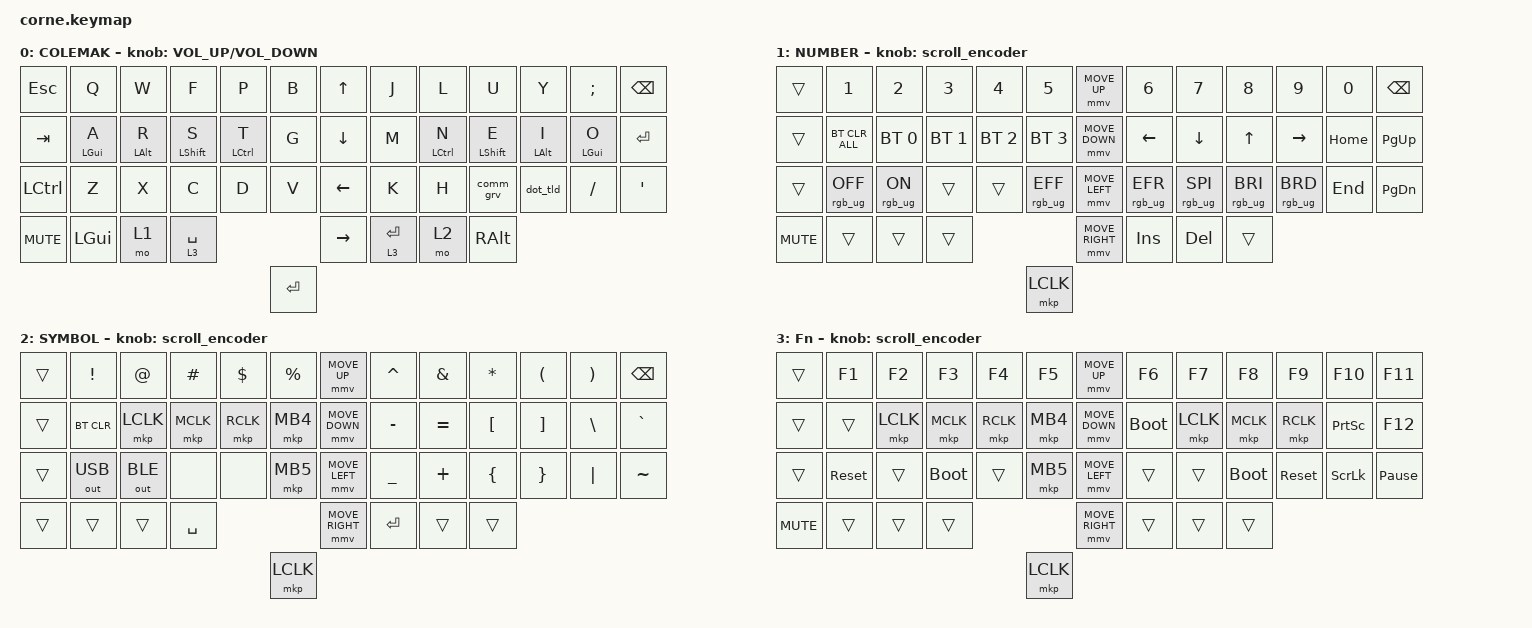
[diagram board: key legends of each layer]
#include <behaviors/mouse_keys.dtsi>
#include <behaviors.dtsi>
#include <dt-bindings/zmk/bt.h>
#include <dt-bindings/zmk/keys.h>
#include <dt-bindings/zmk/mouse.h>
#include <dt-bindings/zmk/outputs.h>
#include <dt-bindings/zmk/rgb.h>

#undef ZMK_MOUSE_DEFAULT_MOVE_VAL
#undef ZMK_MOUSE_DEFAULT_SCRL_VAL
#define ZMK_MOUSE_DEFAULT_MOVE_VAL 1200  // 600
#define ZMK_MOUSE_DEFAULT_SCRL_VAL 20    // 10
#define U_MS_U &mmv MOVE_UP
#define U_MS_D &mmv MOVE_DOWN
#define U_MS_L &mmv MOVE_LEFT
#define U_MS_R &mmv MOVE_RIGHT

#define COLEMAK 0
#define MEDIA   1
#define SYMBOLS 2
#define EXTEND  3
#define NAV     4
#define SYSTEM  5

#define KEYS_LEFT   0 1 2  3  4  5 13 14 15 16 17 18 26 27 28 29 30 31 // left-hand keys
#define KEYS_RIGHT  7 8 9 10 11 12 20 21 22 23 24 25 33 34 35 36 37 38 // right-hand keys
#define KEYS_THUMBS 40 41 42 44 45 46                                  // thumb keys
#define KEYS_5WAY   6 32 47 43 19                                      // five-way switch
#define KEY_ENCODER 39                                                 // push on rotary encoder

/ {
    behaviors {
        hrl: home_row_left {
            compatible = "zmk,behavior-hold-tap";
            #binding-cells = <2>;
            flavor = "balanced";
            tapping-term-ms = <280>;
            quick-tap-ms = <175>;
            require-prior-idle-ms = <150>;
            bindings = <&kp>, <&kp>;
            hold-trigger-key-positions = <KEYS_RIGHT KEYS_THUMBS KEYS_5WAY>;
            hold-trigger-on-release;             // delay positional check until key-release
        };

        hrr: home_row_right {
            compatible = "zmk,behavior-hold-tap";
            #binding-cells = <2>;
            flavor = "balanced";
            tapping-term-ms = <280>;
            quick-tap-ms = <175>;
            require-prior-idle-ms = <150>;
            bindings = <&kp>, <&kp>;
            hold-trigger-key-positions = <KEYS_LEFT KEYS_THUMBS KEY_ENCODER>;
            hold-trigger-on-release;             // delay positional check until key-release
        };

        td0: td0 {
            compatible = "zmk,behavior-tap-dance";
            label = "TD0";
            #binding-cells = <0>;
            bindings = <&kp LEFT_SHIFT>, <&kp CAPS>;
        };

        mmv {
            acceleration-exponent = <1>;      // 1
            time-to-max-speed-ms = <900>;    // 40
            delay-ms = <0>;                   // 0
        };

        msc {
            acceleration-exponent = <1>;      // 0
            time-to-max-speed-ms = <400>;      // 500
            delay-ms = <0>;                   // 10
        };

        comm_grv: comma_grave {
            compatible = "zmk,behavior-mod-morph";
            #binding-cells = <0>;
            bindings = <&kp COMMA>, <&kp GRAVE>;
            mods = <(MOD_LSFT|MOD_RSFT)>;
        };

        dot_tld: dot_tilde {
            compatible = "zmk,behavior-mod-morph";
            #binding-cells = <0>;
            bindings = <&kp DOT>, <&kp TILDE>;
            mods = <(MOD_LSFT|MOD_RSFT)>;
        };

    };

    rgb_encoder: rgb_encoder {
        compatible = "zmk,behavior-sensor-rotate";
        label = "RGB_ENCODER";
        #sensor-binding-cells = <0>;
        bindings = <&rgb_ug RGB_BRI>, <&rgb_ug RGB_BRD>;
    };

    scroll_encoder: scroll_encoder {
        compatible = "zmk,behavior-sensor-rotate";
        #sensor-binding-cells = <0>;
        bindings = <&msc SCRL_DOWN>, <&msc SCRL_UP>;

        tap-ms = <30>;
    };


    combos {
        compatible = "zmk,combos";
        combo_under {
            timeout-ms = <50>;
            key-positions = <21 34>;
            bindings = <&kp UNDER>;
            layers = <COLEMAK>;
        };
        combo_minus {
            timeout-ms = <50>;
            key-positions = <20 21>;
            bindings = <&kp MINUS>;
            layers = <COLEMAK>;
        };
        combo_sqt {
            timeout-ms = <50>;
            key-positions = <9 22>;
            bindings = <&kp SQT>;
            layers = <COLEMAK>;
        };
        combo_dqt {
            timeout-ms = <50>;
            key-positions = <10 23>;
            bindings = <&kp DQT>;
            layers = <COLEMAK>;
        };
        combo_colon {
            timeout-ms = <50>;
            key-positions = <17 30>;
            bindings = <&kp COLON>;
            layers = <COLEMAK>;
        };
        combo_semi {
            timeout-ms = <50>;
            key-positions = <16 29>;
            bindings = <&kp SEMI>;
            layers = <COLEMAK>;
        };
        combo_excl {
            timeout-ms = <50>;
            key-positions = <24 37>;
            bindings = <&kp EXCL>;
            layers = <COLEMAK>;
        };
        combo_save {
            timeout-ms = <50>;
            key-positions = <2 3>;
            bindings = <&kp LC(S)>;
            layers = <COLEMAK>;
        };
    };

    keymap {
        compatible = "zmk,keymap";

        default_layer {
            display-name = "COLEMAK";

            // ┌──────┬─────┬─────┬─────┬─────┬─────┐           ┏━━━━━┓   ┌─────┬─────┬─────┬─────┬─────┬──────┐
            // │ ESC  │  Q  │  W  │  F  │  P  │  B  │           ┃  ↑  ┃   │  J  │  L  │  U  │  Y  │  ;  │ BKSP │
            // ├──────┼─────┼─────┼─────┼─────┼─────┤           ┃     ┃   ├─────┼─────┼─────┼─────┼─────┼──────┤
            // │ TAB  │  A  │  R  │  S  │  T  │  G  │           ┃  ↓  ┃   │  M  │  N  │  E  │  I  │  O  │ ENT  │
            // ├──────┼─────┼─────┼─────┼─────┼─────┤           ┃     ┃   ├─────┼─────┼─────┼─────┼─────┼──────┤
            // │ CTRL │  Z  │  X  │  C  │  D  │  V  │           ┃  ←  ┃   │  K  │  H  │ , ` │ . ~ │  /  │  '   │
            // └┲━━━━━┷┱────┴─────┴─┬───┴─┬───┴─┬───┴─┐         ┃     ┃ ┌─┴───┬─┴───┬─┴───┬─┴─────┴─────┴──────┘
            //  ┃ MUTE ┃            │ GUI │ SFT │ SPC │         ┃  →  ┃ │ ENT │ SPC │ ALT │
            //  ┗━━━━━━┛            └─────┴─────┴─────┘         ┃     ┃ └─────┴─────┴─────┘
            //                                                  ┃enter┃
            //                                                  ┗━━━━━┛

            bindings = <
&kp ESC    &kp Q        &kp W        &kp F         &kp P         &kp B      &kp UP_ARROW       &kp J        &kp L         &kp U        &kp Y        &kp SEMI    &kp BSPC
&kp TAB    &hrl LGUI A  &hrl LALT R  &hrl LSHFT S  &hrl LCTRL T  &kp G      &kp DOWN_ARROW     &kp M        &hrr LCTRL N  &hrr LSHFT E &hrr LALT I  &hrr LGUI O &kp ENTER
&kp LCTRL  &kp Z        &kp X        &kp C         &kp D         &kp V      &kp LEFT_ARROW     &kp K        &kp H         &comm_grv    &dot_tld     &kp FSLH    &kp SQT
  &kp C_MUTE                                &kp LGUI  &mo 1  &lt 3 SPACE    &kp RIGHT_ARROW  &lt 3 ENTER  &mo 2  &kp RALT
                                                             &kp ENTER
            >;

            label = "COLEMAK";
            sensor-bindings = <&inc_dec_kp C_VOLUME_UP C_VOLUME_DOWN>;
        };

        lower_layer {
            display-name = "NUMBER";

            // -----------------------------------------------------------------------------------------
            // |  TAB |  1  |  2  |  3  |  4  |  5  |   |  6  |  7  |  8  |  9  |  0  | BKSP |
            // | BTCLR| BT1 | BT2 | BT3 | BT4 | BT5 |   | LFT | DWN |  UP | RGT |     |      |
            // | SHFT |     |     |     |     |     |   |     |     |     |     |     |      |
            //                    | GUI |     | SPC |   | ENT |     | ALT |

            bindings = <
&trans  &kp N1           &kp N2          &kp N3        &kp N4        &kp N5             &mmv MOVE_UP     &kp N6           &kp N7           &kp N8           &kp N9           &kp N0    &kp BSPC
&trans  &bt BT_CLR_ALL   &bt BT_SEL 0    &bt BT_SEL 1  &bt BT_SEL 2  &bt BT_SEL 3       &mmv MOVE_DOWN   &kp LEFT         &kp DOWN         &kp UP           &kp RIGHT        &kp HOME  &kp PG_UP
&trans  &rgb_ug RGB_OFF  &rgb_ug RGB_ON  &trans        &trans        &rgb_ug RGB_EFF    &mmv MOVE_LEFT   &rgb_ug RGB_EFR  &rgb_ug RGB_SPI  &rgb_ug RGB_BRI  &rgb_ug RGB_BRD  &kp END   &kp PG_DN
                         &kp C_MUTE      &trans        &trans        &trans             &mmv MOVE_RIGHT  &kp INS          &kp DEL          &trans
                                                                                        &mkp LCLK
            >;

            label = "NUMBER";
            sensor-bindings = <&scroll_encoder>;
        };

        raise_layer {
            display-name = "SYMBOL";

            // -----------------------------------------------------------------------------------------
            // |  TAB |  !  |  @  |  #  |  $  |  %  |   |  ^  |  &  |  *  |  (  |  )  | BKSP |
            // | CTRL |     |     |     |     |     |   |  -  |  =  |  [  |  ]  |  \  |  `   |
            // | SHFT |     |     |     |     |     |   |  _  |  +  |  {  |  }  | "|" |  ~   |
            //                    | GUI |     | SPC |   | ENT |     | ALT |

            bindings = <
&trans  &kp EXCL      &kp AT        &kp HASH   &kp DLLR   &kp PRCNT    &mmv MOVE_UP     &kp CARET  &kp AMPS   &kp ASTRK  &kp LPAR  &kp RPAR  &kp BSPC
&trans  &bt BT_CLR    &mkp LCLK     &mkp MCLK  &mkp RCLK  &mkp MB4     &mmv MOVE_DOWN   &kp MINUS  &kp EQUAL  &kp LBKT   &kp RBKT  &kp BSLH  &kp GRAVE
&trans  &out OUT_USB  &out OUT_BLE  &none      &none      &mkp MB5     &mmv MOVE_LEFT   &kp UNDER  &kp PLUS   &kp LBRC   &kp RBRC  &kp PIPE  &kp TILDE
                      &trans        &trans     &trans     &kp SPACE    &mmv MOVE_RIGHT  &kp RET    &trans     &trans
                                                                       &mkp LCLK
            >;

            label = "SYMBOL";
            sensor-bindings = <&scroll_encoder>;
        };

        layer_3 {
            display-name = "Fn";
            bindings = <
&trans  &kp F1      &kp F2      &kp F3       &kp F4     &kp F5      &mmv MOVE_UP     &kp F6       &kp F7     &kp F8       &kp F9      &kp F10          &kp F11
&trans  &trans      &mkp LCLK   &mkp MCLK    &mkp RCLK  &mkp MB4    &mmv MOVE_DOWN   &bootloader  &mkp LCLK  &mkp MCLK    &mkp RCLK   &kp PRINTSCREEN  &kp F12
&trans  &sys_reset  &trans      &bootloader  &trans     &mkp MB5    &mmv MOVE_LEFT   &trans       &trans     &bootloader  &sys_reset  &kp SCROLLLOCK   &kp PAUSE_BREAK
                    &kp C_MUTE  &trans       &trans     &trans      &mmv MOVE_RIGHT  &trans       &trans     &trans
                                                                    &mkp LCLK
            >;

            label = "FN";
            sensor-bindings = <&scroll_encoder>;
        };
    };
};
